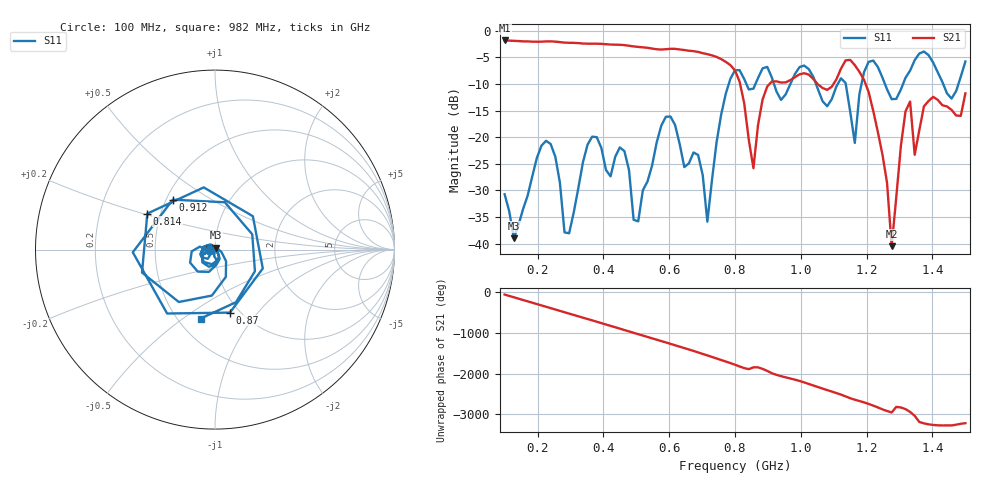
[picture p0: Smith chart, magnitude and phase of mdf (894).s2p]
! NanoVNA-App
! Date: 2025-09-25 15:45:22
! Start: 100MHz Stop: 1,5GHz Points: 101
! S-Parameter data: F S11 S21 S12 S22
# Hz S RI R 50
!  Frequency  S11_Real  S11_Imag  S21_Real  S21_Imag  S12_Real  S12_Imag  S22_Real  S22_Imag
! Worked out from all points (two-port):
!   101 points, 100 MHz to 1.5 GHz, reference 50 ohm
!   highest |S21| = -1.80 dB at 100 MHz (marker M1); lowest = -40.5 dB at 1.276 GHz (marker M2)
!   |S21| within 3 dB of the highest: start of sweep to 739.2 MHz
!   lowest |S11| = -39.0 dB at 128 MHz (marker M3), VSWR 1.02, Z = 50.3 + j1.08 ohm
!   |S11| at or under -10 dB: start of sweep to 781 MHz; 918.6 MHz to 968.2 MHz (49.59 MHz wide, 5.26 % of centre); 1.046 GHz to 1.112 GHz (66.03 MHz wide, 6.12 % of centre) (the widest 3 of 7)
!   S12 and S22 are empty: the file has one direction only
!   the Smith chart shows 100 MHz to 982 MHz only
!   S11 on the Smith chart (normalised r, x): 100 MHz: 0.94, -0.01; 814 MHz: 0.42, +0.21; 870 MHz: 0.90, -0.73; 912 MHz: 0.54, +0.35; 982 MHz: 0.64, -0.58
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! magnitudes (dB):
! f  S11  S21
! 100 MHz  -30.7  -1.8
! 128 MHz  -39.0  -1.9
! 212 MHz  -21.6  -2.0
! 282 MHz  -37.9  -2.2
! 338 MHz  -24.7  -2.4
! 464 MHz  -22.6  -2.7
! 506 MHz  -35.8  -3.0
! 576 MHz  -17.8  -3.5
! 716 MHz  -35.9  -4.4
! 800 MHz  -7.4  -7.4
! 814 MHz  -7.4  -9.5
! 856 MHz  -10.9  -25.8
! 870 MHz  -8.9  -17.7
! 912 MHz  -8.8  -9.5
! 982 MHz  -8.1  -8.7
! 1.038 GHz  -8.6  -9.0
! 1.164 GHz  -21.1  -6.4
! 1.192 GHz  -7.8  -9.2
! 1.276 GHz  -12.8  -40.5
! 1.332 GHz  -7.5  -13.3
! 1.346 GHz  -5.5  -23.3
! 1.5 GHz  -5.8  -11.7
